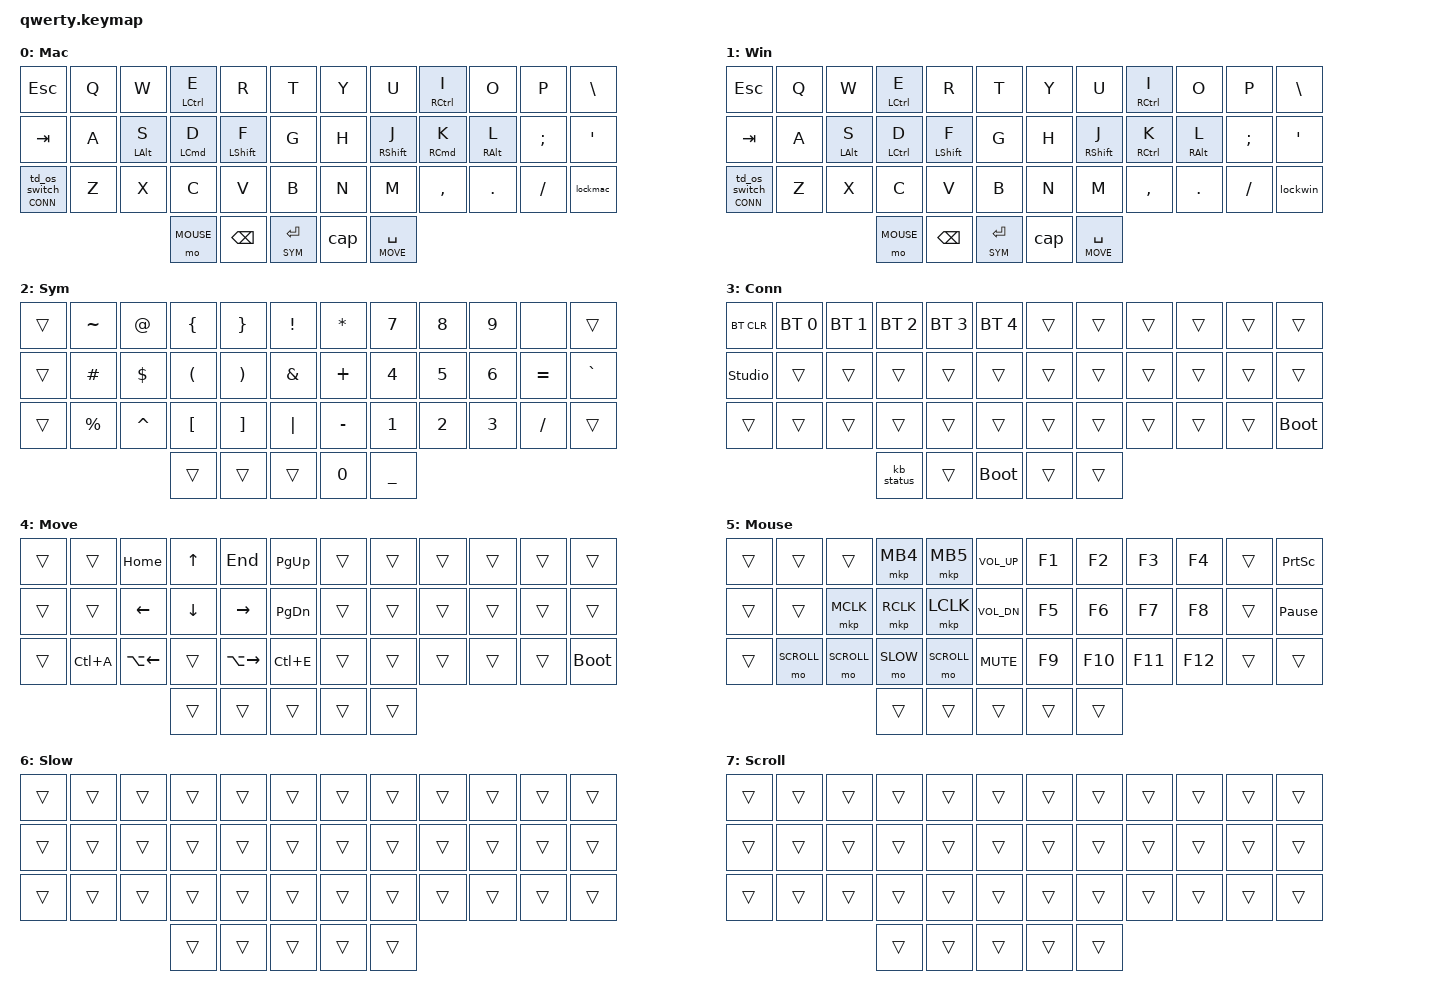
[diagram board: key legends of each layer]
/* upstream bindings and behaviors */
#include <behaviors.dtsi>
#include <dt-bindings/zmk/bt.h>
#include <dt-bindings/zmk/keys.h>
#include <dt-bindings/zmk/mouse.h>
#include <dt-bindings/zmk/outputs.h>
#include <behaviors/mouse_keys.dtsi>
#include <dt-bindings/zmk/ext_power.h>

/* local overlays */
#include "keymap_features/prospector_brightness.dtsi"
#include "keymap_features/macros.dtsi"
#include "keymap_features/behaviors.dtsi"
#include "keymap_features/combos.dtsi"

/ {
/* --- KEYMAP CONFIG --- */
// ╭──────┬──────┬──────┬──────┬──────┬──────╮  ╭──────┬──────┬──────┬──────┬──────┬──────╮
//    00     01     02     03    04      05        06     07     08     09     10     11
// ├──────┼──────┼──────┼──────┼──────┼──────┤  ├──────┼──────┼──────┼──────┼──────┼──────┤
//    12     13     14     15    16      17        18     19     20     21     22     23
// ├──────┼──────┼──────┼──────┼──────┼──────┤  ├──────┼──────┼──────┼──────┼──────┼──────┤
//    24     25     26     27    28      29        30     31     32     33     34     35
// ╰──────┴──────┴──────┼──────┼──────┼──────┤  ├──────┼──────┼──────┴──────┴──────┴──────╯
//                         36     37     38        39     40
//                      ╰──────┴──────┴──────╯  ╰──────┴──────╯
#define MAC     0
#define WIN     1
#define SYM     2
#define CONN    3

#define MOVE    4
#define MOUSE   5
#define SLOW    6
#define SCROLL  7

// This shared keymap builds for prospector and non-prospector firmwares.
// This stubs the key bindings that are contained in the prospector module
// so non-prospector firmware can build.
#ifndef CONFIG_SHIELD_PROSPECTOR_ADAPTER
    behaviors {
        /omit-if-no-ref/ pbl: prospector_brightness_stub {
            compatible = "zmk,behavior-macro-two-param";
            #binding-cells = <2>;
            bindings = <&none>;
        };
    };
#endif

    behaviors {
        td_os_switch: td_os_switch {
            compatible = "zmk,behavior-tap-dance";
            #binding-cells = <0>;
            tapping-term-ms = <280>;
            bindings = <&kp LEFT_GUI>, <&to MAC>, <&to WIN>; // tap(GUI), double(MAC), triple(WIN)
        };

        conn_or_os: conn_or_os_switch {
            compatible = "zmk,behavior-hold-tap";
            #binding-cells = <2>;
            flavor = "hold-preferred";
            tapping-term-ms = <200>;
            bindings = <&mo>, <&td_os_switch>; // hold = layer, tap = td_os_switch (2nd param unused, pass 0)
        };

        // Lock a mac machine.
        lockmac: tap_dance_lockmac {
            compatible = "zmk,behavior-tap-dance";
            #binding-cells = <0>;
            tapping-term-ms = <200>;
            bindings = <&none>, <&kp LC(LG(Q))>; // tap, double-tap
        };

        // Lock a windows machine.
        lockwin: tap_dance_lockwin {
            compatible = "zmk,behavior-tap-dance";
            #binding-cells = <0>;
            tapping-term-ms = <200>;
            bindings = <&none>, <&kp LG(L)>; // tap, double-tap
        };

        cap: tap_dance_cap {
            compatible = "zmk,behavior-tap-dance";
            #binding-cells = <0>;
            tapping-term-ms = <160>;
            bindings = <&kp DEL>, <&caps_word>; // tap, double-tap
        };
    };

    keymap {
        compatible = "zmk,keymap";

        // Mac-style base
        MAC {
            display-name = "Mac";
            bindings = <
    &kp ESC             &kp Q   &kp W            &ht_left LCTRL E  &kp R             &kp T        &kp Y   &kp U              &ht_right RCTRL I  &kp O             &kp P           &kp BSLH
    &kp TAB             &kp A   &ht_left LALT S  &ht_left LCMD D   &ht_left LSHFT F  &kp G        &kp H   &ht_right RSHFT J  &ht_right RCMD K   &ht_right RALT L  &kp SEMICOLON   &kp SQT
    &conn_or_os CONN 0  &kp Z   &kp X            &kp C             &kp V             &kp B        &kp N   &kp M              &kp COMMA          &kp DOT           &kp FSLH        &lockmac
                                                 &mo MOUSE         &kp BACKSPACE     &lt SYM RET  &cap    &lt MOVE SPACE
            >;
        };

        // Windows-style base
        WIN {
            display-name = "Win";
            bindings = <
    &kp ESC             &kp Q   &kp W            &ht_left LCTRL E  &kp R             &kp T        &kp Y   &kp U              &ht_right RCTRL I  &kp O             &kp P           &kp BSLH
    &kp TAB             &kp A   &ht_left LALT S  &ht_left LCTRL D  &ht_left LSHFT F  &kp G        &kp H   &ht_right RSHFT J  &ht_right RCTRL K  &ht_right RALT L  &kp SEMICOLON   &kp SQT
    &conn_or_os CONN 0  &kp Z   &kp X            &kp C             &kp V             &kp B        &kp N   &kp M              &kp COMMA          &kp DOT           &kp FSLH        &lockwin
                                                 &mo MOUSE         &kp BACKSPACE     &lt SYM RET  &cap    &lt MOVE SPACE
            >;
        };

        // Symbols and numbers
        SYM {
            display-name = "Sym";
            bindings = <
    &trans  &kp TILDE  &kp AT      &kp LEFT_BRACE        &kp RIGHT_BRACE        &kp EXCLAMATION  &kp STAR   &kp N7  &kp N8  &kp N9  &none      &trans
    &trans  &kp POUND  &kp DOLLAR  &kp LEFT_PARENTHESIS  &kp RIGHT_PARENTHESIS  &kp AMPERSAND    &kp PLUS   &kp N4  &kp N5  &kp N6  &kp EQUAL  &kp GRAVE
    &trans  &kp PERCENT &kp CARET  &kp LEFT_BRACKET      &kp RIGHT_BRACKET      &kp PIPE         &kp MINUS  &kp N1  &kp N2  &kp N3  &kp SLASH  &trans
                                   &trans                &trans                 &trans           &kp N0     &kp UNDERSCORE
            >;
        };

        // BT connections
        CONN {
            display-name = "Conn";
            bindings = <
    &bt BT_CLR      &bt BT_SEL 0  &bt BT_SEL 1  &bt BT_SEL 2  &bt BT_SEL 3  &bt BT_SEL 4  &trans   &trans    &trans     &trans   &trans      &trans
    &studio_unlock  &trans        &trans        &trans        &trans        &trans        &trans   &trans    &trans     &trans   &trans      &trans
    &trans          &trans        &trans        &trans        &trans        &trans        &trans   &trans    &trans     &trans   &trans      &bootloader
                                                &kb_status    &trans        &bootloader   &trans   &trans
            >;
        };

        // Cursor movement
        MOVE {
            display-name = "Move";
            bindings = <
    &trans  &trans     &kp HOME      &kp UP    &kp END        &kp PG_UP   &trans   &trans      &trans     &trans   &trans      &trans
    &trans  &trans     &kp LEFT      &kp DOWN  &kp RIGHT      &kp PG_DN   &trans   &trans      &trans     &trans   &trans      &trans
    &trans  &kp LC(A)  &kp LA(LEFT)  &trans    &kp LA(RIGHT)  &kp LC(E)   &trans   &trans      &trans     &trans   &trans      &bootloader
                                     &trans    &trans         &trans      &trans   &trans
            >;
        };

        MOUSE {
            display-name = "Mouse";
            bindings = <
    &trans  &trans      &trans      &mkp MB4   &mkp MB5     &kp C_VOL_UP  &kp F1  &kp F2   &kp F3   &kp F4   &trans  &kp PSCRN
    &trans  &trans      &mkp MCLK   &mkp RCLK  &mkp LCLK    &kp C_VOL_DN  &kp F5  &kp F6   &kp F7   &kp F8   &trans  &kp PAUSE_BREAK
    &trans  &mo SCROLL  &mo SCROLL  &mo SLOW   &mo SCROLL   &kp C_MUTE    &kp F9  &kp F10  &kp F11  &kp F12  &trans  &trans
                                    &trans     &trans       &trans        &trans   &trans
            >;
        };

        SLOW {
            display-name = "Slow";
            bindings = <
    &trans    &trans   &trans   &trans   &trans   &trans      &trans   &trans   &trans   &trans   &trans   &trans
    &trans    &trans   &trans   &trans   &trans   &trans      &trans   &trans   &trans   &trans   &trans   &trans
    &trans    &trans   &trans   &trans   &trans   &trans      &trans   &trans   &trans   &trans   &trans   &trans
                                &trans   &trans   &trans      &trans   &trans
            >;
        };

        SCROLL {
            display-name = "Scroll";
            bindings = <
    &trans    &trans   &trans   &trans   &trans   &trans      &trans   &trans   &trans   &trans   &trans   &trans
    &trans    &trans   &trans   &trans   &trans   &trans      &trans   &trans   &trans   &trans   &trans   &trans
    &trans    &trans   &trans   &trans   &trans   &trans      &trans   &trans   &trans   &trans   &trans   &trans
                                &trans   &trans   &trans      &trans   &trans
            >;
        };
    };
};

// Show white (Mac) or pink (Windows) on the left thumbs with &kb_status.
&kb_status {
    win-layer = <WIN>;
};
